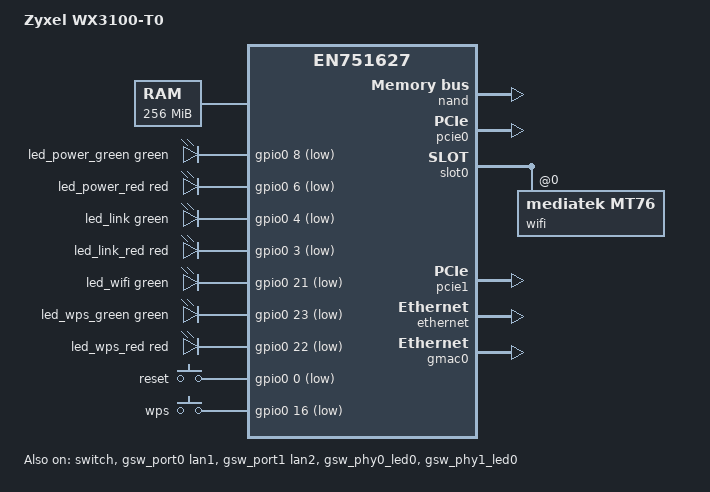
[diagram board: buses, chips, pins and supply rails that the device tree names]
// SPDX-License-Identifier: (GPL-2.0-only OR BSD-2-Clause)
/dts-v1/;

#include "en751627.dtsi"
#include <dt-bindings/gpio/gpio.h>
#include <dt-bindings/input/input.h>
#include <dt-bindings/leds/common.h>

/ {
	model = "Zyxel WX3100-T0";
	compatible = "zyxel,wx3100-t0", "econet,en751627";

	aliases {
		led-boot = &led_power_green;
		led-failsafe = &led_power_red;
		led-running = &led_power_green;
		led-upgrade = &led_power_red;
	};

	memory@0 {
		device_type = "memory";
		reg = <0x00000000 0x10000000>;
	};

	chosen {
		stdout-path = "/serial@1fbf0000:115200";
	};

	leds {
		compatible = "gpio-leds";

		led_power_green: led-0 {
			color = <LED_COLOR_ID_GREEN>;
			function = LED_FUNCTION_POWER;
			gpios = <&gpio0 8 GPIO_ACTIVE_LOW>;
			default-state = "on";
		};

		led_power_red: led-1 {
			color = <LED_COLOR_ID_RED>;
			function = LED_FUNCTION_POWER;
			gpios = <&gpio0 6 GPIO_ACTIVE_LOW>;
			default-state = "off";
		};

		led_link: led-2 {
			color = <LED_COLOR_ID_GREEN>;
			function = "link";
			gpios = <&gpio0 4 GPIO_ACTIVE_LOW>;
			default-state = "off";
		};

		led_link_red: led-3 {
			color = <LED_COLOR_ID_RED>;
			function = "link";
			gpios = <&gpio0 3 GPIO_ACTIVE_LOW>;
			default-state = "off";
		};

		led_wifi: led-4 {
			color = <LED_COLOR_ID_GREEN>;
			function = "wifi";
			gpios = <&gpio0 21 GPIO_ACTIVE_LOW>;
			linux,default-trigger = "phy0tpt";
			default-state = "off";
		};

		led_wps_green: led-5 {
			color = <LED_COLOR_ID_GREEN>;
			function = LED_FUNCTION_WPS;
			gpios = <&gpio0 23 GPIO_ACTIVE_LOW>;
			default-state = "off";
		};

		led_wps_red: led-6 {
			color = <LED_COLOR_ID_RED>;
			function = LED_FUNCTION_WPS;
			gpios = <&gpio0 22 GPIO_ACTIVE_LOW>;
			default-state = "off";
		};
	};

	keys {
		compatible = "gpio-keys-polled";
		poll-interval = <100>;

		key-reset {
			label = "reset";
			gpios = <&gpio0 0 GPIO_ACTIVE_LOW>;
			linux,code = <KEY_RESTART>;
		};

		key-wps {
			label = "wps";
			gpios = <&gpio0 16 GPIO_ACTIVE_LOW>;
			linux,code = <KEY_WPS_BUTTON>;
		};
	};
};

&nand {
	status = "okay";
	econet,bmt;
	econet,bbt-table-size = <250>;

	partitions {
		compatible = "fixed-partitions";
		#address-cells = <1>;
		#size-cells = <1>;

		partition@0 {
			label = "bootloader";
			reg = <0x0 0x40000>;
			read-only;

			nvmem-layout {
				compatible = "fixed-layout";
				#address-cells = <1>;
				#size-cells = <1>;

				macaddr_bootloader_ff48: macaddr@ff48 {
					compatible = "mac-base";
					reg = <0xff48 0x6>;
					#nvmem-cell-cells = <1>;
				};
			};
		};

		partition@40000 {
			label = "romfile";
			reg = <0x40000 0x40000>;
			read-only;
		};

		partition@80000 {
			label = "tclinux_kernel";
			reg = <0x80000 0x400000>;
			econet,enable-remap;
		};

		partition@480000 {
			label = "ubi";
			reg = <0x480000 0x2400000>;
		};

		partition@2880000 {
			label = "tclinux_alt";
			reg = <0x2880000 0x2620000>;
			read-only;
		};

		partition@4ea0000 {
			label = "wwan";
			reg = <0x4ea0000 0x100000>;
		};

		partition@4fa0000 {
			label = "factory_data";
			reg = <0x4fa0000 0x400000>;
		};

		partition@53a0000 {
			label = "rom-d";
			reg = <0x53a0000 0x100000>;
		};

		partition@54a0000 {
			label = "misc";
			reg = <0x54a0000 0x2000000>;
		};

		factory: partition@74a0000 {
			label = "factory";
			reg = <0x74a0000 0x80000>;
			read-only;

			nvmem-layout {
				compatible = "fixed-layout";
				#address-cells = <1>;
				#size-cells = <1>;

				eeprom_factory_0: eeprom@0 {
					reg = <0x0 0x1000>;
				};

			};
		};

		partition@7520000 {
			label = "reservearea";
			reg = <0x7520000 0xc0000>;
		};
	};
};

&pcie0 {
	status = "okay";
};

&slot0 {
	status = "okay";

	wifi@0,0 {
		compatible = "mediatek,mt76";
		reg = <0x0000 0 0 0 0>;
		nvmem-cells = <&eeprom_factory_0>;
		nvmem-cell-names = "eeprom";
		big-endian;
		#address-cells = <1>;
		#size-cells = <0>;

		band@0 {
			reg = <0>;
			nvmem-cells = <&macaddr_bootloader_ff48 1>;
			nvmem-cell-names = "mac-address";
		};

		band@1 {
			reg = <1>;
			nvmem-cells = <&macaddr_bootloader_ff48 2>;
			nvmem-cell-names = "mac-address";
		};
	};
};

&pcie1 {
	status = "okay";

	/* Slot 1 is a second link to the same wifi chip */
};

&ethernet {
	status = "okay";
};

&gmac0 {
	nvmem-cells = <&macaddr_bootloader_ff48 0>;
	nvmem-cell-names = "mac-address";
	status = "okay";
};

&switch {
	status = "okay";
};

&gsw_port0 {
	status = "okay";
	label = "lan1";
};

&gsw_port1 {
	status = "okay";
	label = "lan2";
};

&gsw_phy0_led0 {
	color = <LED_COLOR_ID_GREEN>;
	function = LED_FUNCTION_LAN;
	function-enumerator = <1>;
	status = "okay";
};

&gsw_phy1_led0 {
	color = <LED_COLOR_ID_GREEN>;
	function = LED_FUNCTION_LAN;
	function-enumerator = <2>;
	status = "okay";
};
